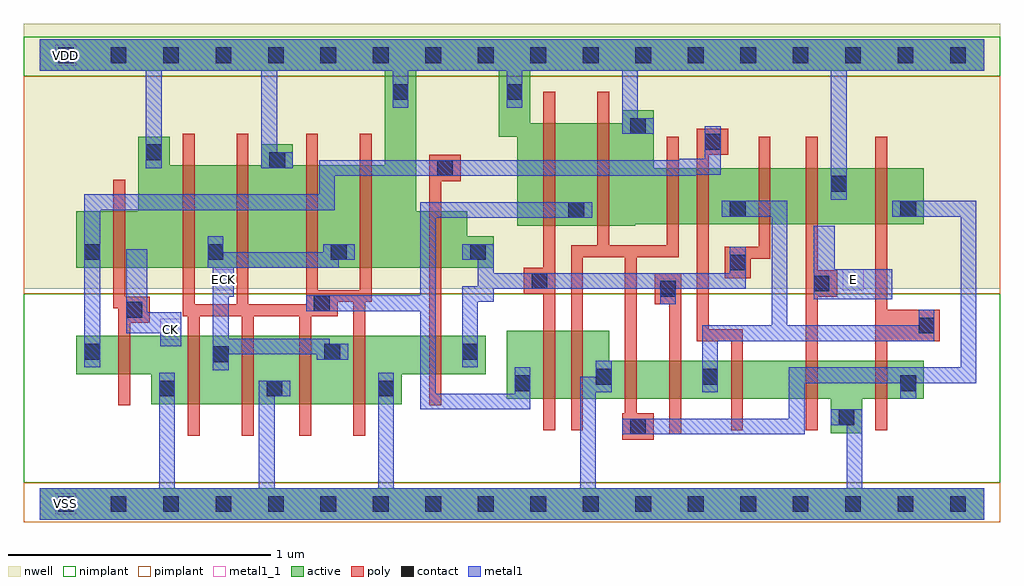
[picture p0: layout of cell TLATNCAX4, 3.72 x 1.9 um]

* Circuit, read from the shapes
.subckt TLATNCAX4 CK E ECK VDD VSS
M1 VSS CK n1 VSS nfet w=0.145u l=0.045u
M2 ECK n2 VSS VSS nfet w=0.26u l=0.045u m=4
M3 n3 n1 VSS VSS nfet w=0.145u l=0.045u
M4 n4 n3 n2 VSS nfet w=0.26u l=0.045u
M5 VSS n5 n4 VSS nfet w=0.26u l=0.045u
M6 n6 n5 VSS VSS nfet w=0.145u l=0.045u
M7 n7 n3 n6 VSS nfet w=0.145u l=0.045u
M8 n8 n1 n7 VSS nfet w=0.145u l=0.045u
M9 VSS E n8 VSS nfet w=0.145u l=0.045u
M10 n5 n7 VSS VSS nfet w=0.145u l=0.045u
M11 VDD CK n1 VDD pfet w=0.215u l=0.045u
M12 ECK n2 VDD VDD pfet w=0.39u l=0.045u m=4
M13 n3 n1 VDD VDD pfet w=0.215u l=0.045u
M14 n2 n3 VDD VDD pfet w=0.39u l=0.045u
M15 VDD n5 n2 VDD pfet w=0.39u l=0.045u
M16 n9 n5 VDD VDD pfet w=0.215u l=0.045u
M17 n7 n1 n9 VDD pfet w=0.215u l=0.045u
M18 n10 n3 n7 VDD pfet w=0.215u l=0.045u
M19 VDD E n10 VDD pfet w=0.215u l=0.045u
M20 n5 n7 VDD VDD pfet w=0.215u l=0.045u
.ends

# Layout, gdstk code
import gdstk
lib = gdstk.Library(unit=1e-6, precision=5e-10)
def R(c, l, rs):  # rectangles x0, y0, x1, y1
    for r in rs: c.add(gdstk.rectangle(r[:2], r[2:], *l))
def A(c, l, x, y, w, h, nx, ny, dx, dy):  # array of equal rectangles
    R(c, l, [(x+i*dx, y+j*dy, x+i*dx+w, y+j*dy+h) for i in range(nx) for j in range(ny)])
def P(c, l, *ps):  # polygons
    for p in ps: c.add(gdstk.Polygon(p, *l))
active = (1, 0)
nwell = (2, 0)
poly = (3, 0)
nimplant = (4, 0)
pimplant = (5, 0)
contact = (6, 0)
metal1 = (7, 0)
metal1_1 = (7, 1)

tlatncax4 = lib.new_cell('TLATNCAX4')
R(tlatncax4, active, [(0,-0.06,3.6,0.06)])
P(tlatncax4, active, [(0,1.77),(3.6,1.77),(3.6,1.65),(1.87,1.65),(1.87,1.45),(2.22,1.45),(2.22,1.5),(2.34,1.5),(2.34,1.28),(3.37,1.28),(3.37,1.065),(2.27,1.065),(2.27,1.06),(1.82,1.06),(1.82,1.4),(1.75,1.4),(1.75,1.65),(1.435,1.65),(1.435,1.115),(1.63,1.115),(1.63,1.02),(1.73,1.02),(1.73,0.9),(0.14,0.9),(0.14,1.115),(0.375,1.115),(0.375,1.4),(0.495,1.4),(0.495,1.29),(0.845,1.29),(0.845,1.37),(0.965,1.37),(0.965,1.29),(1.315,1.29),(1.315,1.65),(0,1.65)],
  [(0.14,0.64),(1.7,0.64),(1.7,0.495),(1.38,0.495),(1.38,0.38),(0.425,0.38),(0.425,0.495),(0.14,0.495)],
  [(1.78,0.66),(2.17,0.66),(2.17,0.545),(3.37,0.545),(3.37,0.4),(3.135,0.4),(3.135,0.27),(3.015,0.27),(3.015,0.4),(1.78,0.4)])
R(tlatncax4, nwell, [(-0.06,0.82,3.66,1.83)])
P(tlatncax4, poly, [(0.545,1.41),(0.59,1.41),(0.59,0.76),(0.75,0.76),(0.75,1.41),(0.795,1.41),(0.795,0.76),(1.015,0.76),(1.015,1.41),(1.06,1.41),(1.06,0.815),(1.22,0.815),(1.22,1.41),(1.265,1.41),(1.265,0.77),(1.24,0.77),(1.24,0.26),(1.195,0.26),(1.195,0.77),(1.135,0.77),(1.135,0.715),(1.035,0.715),(1.035,0.26),(0.99,0.26),(0.99,0.715),(0.815,0.715),(0.815,0.26),(0.77,0.26),(0.77,0.715),(0.61,0.715),(0.61,0.26),(0.565,0.26),(0.565,0.715),(0.545,0.715)],
  [(0.28,1.235),(0.325,1.235),(0.325,0.79),(0.42,0.79),(0.42,0.69),(0.345,0.69),(0.345,0.375),(0.3,0.375),(0.3,0.745),(0.28,0.745)],
  [(1.92,1.57),(1.965,1.57),(1.965,0.28),(1.92,0.28),(1.92,0.8),(1.845,0.8),(1.845,0.9),(1.92,0.9)],
  [(2.125,1.57),(2.17,1.57),(2.17,0.985),(2.39,0.985),(2.39,1.4),(2.435,1.4),(2.435,0.94),(2.275,0.94),(2.275,0.345),(2.34,0.345),(2.34,0.245),(2.22,0.245),(2.22,0.345),(2.23,0.345),(2.23,0.94),(2.07,0.94),(2.07,0.28),(2.025,0.28),(2.025,0.985),(2.125,0.985)],
  [(1.485,1.33),(1.605,1.33),(1.605,1.23),(1.53,1.23),(1.53,0.375),(1.485,0.375)],
  [(2.505,1.43),(2.625,1.43),(2.625,1.33),(2.55,1.33),(2.55,0.665),(2.68,0.665),(2.68,0.28),(2.635,0.28),(2.635,0.62),(2.505,0.62)],
  [(2.74,1.4),(2.785,1.4),(2.785,0.935),(2.71,0.935),(2.71,0.86),(2.61,0.86),(2.61,0.98),(2.74,0.98)],
  [(2.92,1.4),(2.965,1.4),(2.965,0.89),(3.04,0.89),(3.04,0.79),(2.965,0.79),(2.965,0.28),(2.92,0.28)],
  [(3.185,1.4),(3.23,1.4),(3.23,0.74),(3.43,0.74),(3.43,0.62),(3.23,0.62),(3.23,0.28),(3.185,0.28)],
  [(2.345,0.88),(2.445,0.88),(2.445,0.265),(2.4,0.265),(2.4,0.76),(2.345,0.76)])
R(tlatncax4, nimplant, [(-0.06,0.08,3.66,0.8), (-0.06,1.63,3.66,1.78)])
R(tlatncax4, pimplant, [(-0.06,-0.07,3.66,0.08), (-0.06,0.8,3.66,1.63)])
A(tlatncax4, contact, 0.07, -0.03, 0.06, 0.06, 18, 2, 0.2, 1.71)
A(tlatncax4, contact, 0.17, 0.93, 0.06, 0.06, 3, 1, 0.47, 0)
R(tlatncax4, contact, [(2.25,0.265,2.31,0.325), (3.045,0.3,3.105,0.36), (0.455,0.41,0.515,0.47), (0.865,0.41,0.925,0.47), (1.29,0.41,1.35,0.47), (1.81,0.43,1.87,0.49), (3.28,0.43,3.34,0.49), (2.12,0.455,2.18,0.515), (2.525,0.455,2.585,0.515), (0.66,0.54,0.72,0.6), (0.17,0.55,0.23,0.61), (1.085,0.55,1.145,0.61), (1.61,0.55,1.67,0.61), (3.35,0.65,3.41,0.71), (0.33,0.71,0.39,0.77), (1.045,0.735,1.105,0.795), (2.365,0.79,2.425,0.85), (2.95,0.81,3.01,0.87), (1.875,0.82,1.935,0.88), (2.63,0.89,2.69,0.95), (1.64,0.93,1.7,0.99), (2.015,1.09,2.075,1.15), (2.63,1.095,2.69,1.155), (3.28,1.095,3.34,1.155), (3.015,1.19,3.075,1.25), (1.515,1.25,1.575,1.31), (0.875,1.28,0.935,1.34), (0.405,1.31,0.465,1.37), (2.535,1.35,2.595,1.41), (2.25,1.41,2.31,1.47), (1.345,1.54,1.405,1.6), (1.78,1.54,1.84,1.6)])
P(tlatncax4, metal1, [(0,1.77),(3.6,1.77),(3.6,1.65),(3.075,1.65),(3.075,1.16),(3.015,1.16),(3.015,1.65),(2.28,1.65),(2.28,1.47),(2.34,1.47),(2.34,1.41),(2.22,1.41),(2.22,1.65),(1.84,1.65),(1.84,1.51),(1.78,1.51),(1.78,1.65),(1.405,1.65),(1.405,1.51),(1.345,1.51),(1.345,1.65),(0.905,1.65),(0.905,1.34),(0.965,1.34),(0.965,1.28),(0.845,1.28),(0.845,1.65),(0.465,1.65),(0.465,1.28),(0.405,1.28),(0.405,1.65),(0,1.65)],
  [(2.535,1.44),(2.595,1.44),(2.595,1.255),(2.5,1.255),(2.5,1.25),(1.125,1.25),(1.125,1.12),(0.23,1.12),(0.23,0.52),(0.17,0.52),(0.17,1.18),(1.065,1.18),(1.065,1.31),(2.44,1.31),(2.44,1.315),(2.535,1.315)],
  [(1.45,1.15),(2.105,1.15),(2.105,1.09),(1.51,1.09),(1.51,0.42),(1.81,0.42),(1.81,0.52),(1.87,0.52),(1.87,0.36),(1.45,0.36),(1.45,0.735),(1.015,0.735),(1.015,0.795),(1.45,0.795)],
  [(0.64,1.02),(0.7,1.02),(0.7,0.96),(1.08,0.96),(1.08,0.99),(1.2,0.99),(1.2,0.93),(1.14,0.93),(1.14,0.9),(0.74,0.9),(0.74,0.79),(0.72,0.79),(0.72,0.63),(1.105,0.63),(1.105,0.61),(1.175,0.61),(1.175,0.55),(1.055,0.55),(1.055,0.57),(0.72,0.57),(0.72,0.51),(0.66,0.51),(0.66,0.9),(0.64,0.9)],
  [(0.33,0.97),(0.41,0.97),(0.41,0.73),(0.54,0.73),(0.54,0.6),(0.46,0.6),(0.46,0.65),(0.33,0.65)],
  [(2.6,1.155),(2.85,1.155),(2.85,0.68),(3.35,0.68),(3.35,0.74),(3.41,0.74),(3.41,0.62),(2.585,0.62),(2.585,0.425),(2.525,0.425),(2.525,0.68),(2.79,0.68),(2.79,1.095),(2.6,1.095)],
  [(3.25,1.155),(3.57,1.155),(3.57,0.46),(3.34,0.46),(3.34,0.4),(3.28,0.4),(3.28,0.46),(2.915,0.46),(2.915,0.265),(2.22,0.265),(2.22,0.325),(2.855,0.325),(2.855,0.52),(3.51,0.52),(3.51,1.095),(3.25,1.095)],
  [(1.61,0.99),(1.73,0.99),(1.73,0.88),(2.63,0.88),(2.63,0.98),(2.69,0.98),(2.69,0.82),(2.425,0.82),(2.425,0.76),(2.365,0.76),(2.365,0.82),(1.73,0.82),(1.73,0.77),(1.67,0.77),(1.67,0.52),(1.61,0.52),(1.61,0.83),(1.67,0.83),(1.67,0.93),(1.61,0.93)],
  [(0.455,0.5),(0.515,0.5),(0.515,0.06),(0.835,0.06),(0.835,0.47),(0.955,0.47),(0.955,0.41),(0.895,0.41),(0.895,0.06),(1.29,0.06),(1.29,0.5),(1.35,0.5),(1.35,0.06),(2.06,0.06),(2.06,0.485),(2.12,0.485),(2.12,0.545),(2.18,0.545),(2.18,0.425),(2.12,0.425),(2.12,0.06),(3.075,0.06),(3.075,0.3),(3.015,0.3),(3.015,0.36),(3.135,0.36),(3.135,0.06),(3.6,0.06),(3.6,-0.06),(0,-0.06),(0,0.06),(0.455,0.06)],
  [(2.95,1.06),(3.03,1.06),(3.03,0.895),(3.25,0.895),(3.25,0.78),(2.95,0.78)])
R(tlatncax4, metal1_1, [(0.06,-0.04,0.14,0.04), (0.46,0.625,0.54,0.705), (0.66,0.815,0.74,0.895), (3.06,0.815,3.14,0.895), (0.06,1.67,0.14,1.75)])
tlatncax4.add(gdstk.Label('ECK', (0.7,0.855), layer=7, texttype=1))
tlatncax4.add(gdstk.Label('E', (3.1,0.855), layer=7, texttype=1))
tlatncax4.add(gdstk.Label('CK', (0.5,0.665), layer=7, texttype=1))
tlatncax4.add(gdstk.Label('VDD', (0.1,1.71), layer=7, texttype=1))
tlatncax4.add(gdstk.Label('VSS', (0.1,0), layer=7, texttype=1))
tlatncax4.add(gdstk.Label('TLATNCAX4', (0,0), layer=63, texttype=0))

lib.write_gds('TLATNCAX4.gds')
